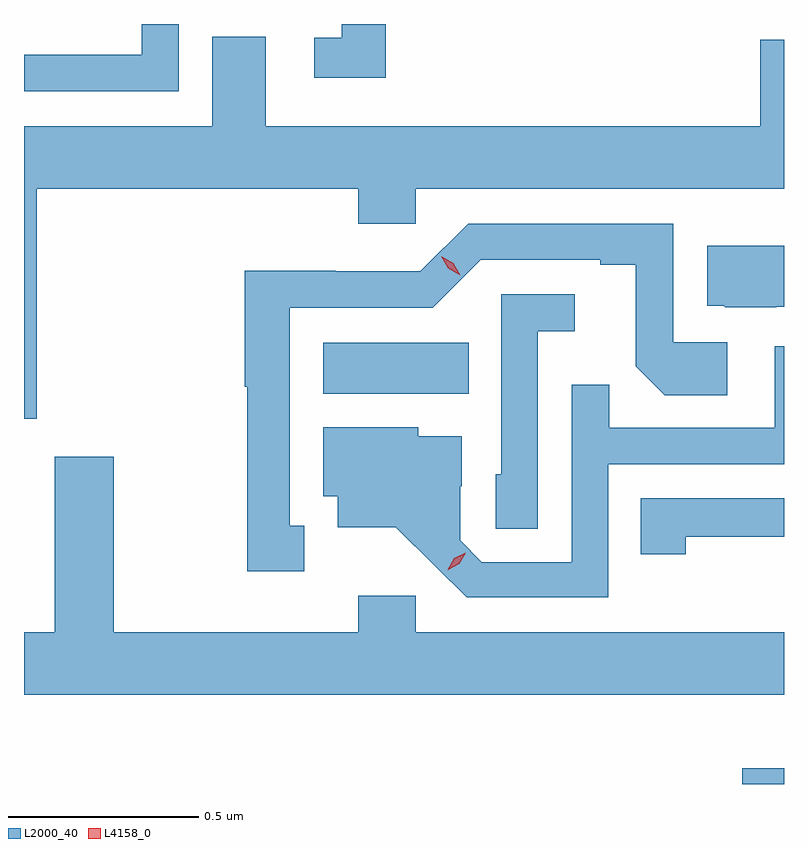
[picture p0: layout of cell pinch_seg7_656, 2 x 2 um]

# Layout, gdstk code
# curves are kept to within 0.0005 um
import gdstk
lib = gdstk.Library(unit=1e-6, precision=1e-09)
def R(c, l, rs):  # rectangles x0, y0, x1, y1
    for r in rs: c.add(gdstk.rectangle(r[:2], r[2:], *l))
def P(c, l, *ps):  # polygons
    for p in ps: c.add(gdstk.Polygon(p, *l))
L2000_40 = (2000, 40)
L4158_0 = (4158, 0)

pinch_seg7_656 = lib.new_cell('pinch_seg7_656')
R(pinch_seg7_656, L2000_40, [(150.907,1012.369,151.017,1012.411), (149.804,1013.396,150.188,1013.53)])
P(pinch_seg7_656, L2000_40, [(149.424,1014.369),(149.327,1014.369),(149.327,1014.288),(149.017,1014.288),(149.017,1014.192),(149.424,1014.192)],
  [(149.969,1014.369),(149.853,1014.369),(149.853,1014.333),(149.781,1014.333),(149.781,1014.228),(149.969,1014.228)],
  [(149.05,1013.936),(149.897,1013.936),(149.897,1013.843),(150.048,1013.843),(150.048,1013.936),(151.017,1013.936),(151.017,1014.328),(150.955,1014.328),(150.955,1014.1),(149.653,1014.1),(149.653,1014.336),(149.513,1014.336),(149.513,1014.1),(149.017,1014.1),(149.017,1013.33),(149.05,1013.33)],
  [(149.755,1013.049),(149.716,1013.049),(149.716,1013.622),(150.093,1013.622),(150.219,1013.748),(150.533,1013.748),(150.533,1013.736),(150.627,1013.736),(150.627,1013.468),(150.703,1013.392),(150.868,1013.392),(150.868,1013.532),(150.726,1013.532),(150.726,1013.844),(150.186,1013.844),(150.06,1013.718),(149.838,1013.718),(149.838,1013.72),(149.598,1013.72),(149.598,1013.415),(149.605,1013.415),(149.605,1012.929),(149.755,1012.929)],
  [(150.996,1013.625),(151.017,1013.625),(151.017,1013.785),(150.815,1013.785),(150.815,1013.627),(150.859,1013.627),(150.862,1013.624),(150.996,1013.624)],
  [(150.369,1013.561),(150.466,1013.561),(150.466,1013.658),(150.273,1013.658),(150.273,1013.184),(150.258,1013.184),(150.258,1013.041),(150.369,1013.041)],
  [(150.555,1013.211),(151.017,1013.211),(151.017,1013.521),(150.993,1013.521),(150.993,1013.307),(150.557,1013.307),(150.557,1013.42),(150.459,1013.42),(150.459,1012.953),(150.222,1012.953),(150.165,1013.01),(150.165,1013.152),(150.169,1013.152),(150.169,1013.284),(150.054,1013.284),(150.054,1013.308),(149.804,1013.308),(149.804,1013.126),(149.843,1013.126),(149.843,1013.045),(149.995,1013.045),(150.182,1012.86),(150.555,1012.86)],
  [(151.017,1012.768),(150.048,1012.768),(150.048,1012.864),(149.897,1012.864),(149.897,1012.768),(149.253,1012.768),(149.253,1013.23),(149.098,1013.23),(149.098,1012.768),(149.017,1012.768),(149.017,1012.604),(151.017,1012.604)],
  [(150.759,1013.02),(151.017,1013.02),(151.017,1013.121),(150.64,1013.121),(150.64,1012.974),(150.759,1012.974)])
P(pinch_seg7_656, L4158_0, [(150.132,1012.933),(150.132,1012.933),(150.149,1012.963),(150.18,1012.978),(150.18,1012.978),(150.18,1012.978),(150.163,1012.948),(150.133,1012.933)],
  [(150.165,1013.708),(150.133,1013.726),(150.115,1013.758),(150.115,1013.758),(150.115,1013.758),(150.147,1013.74),(150.165,1013.708),(150.165,1013.708)])

lib.write_gds('pinch_seg7_656.gds')
